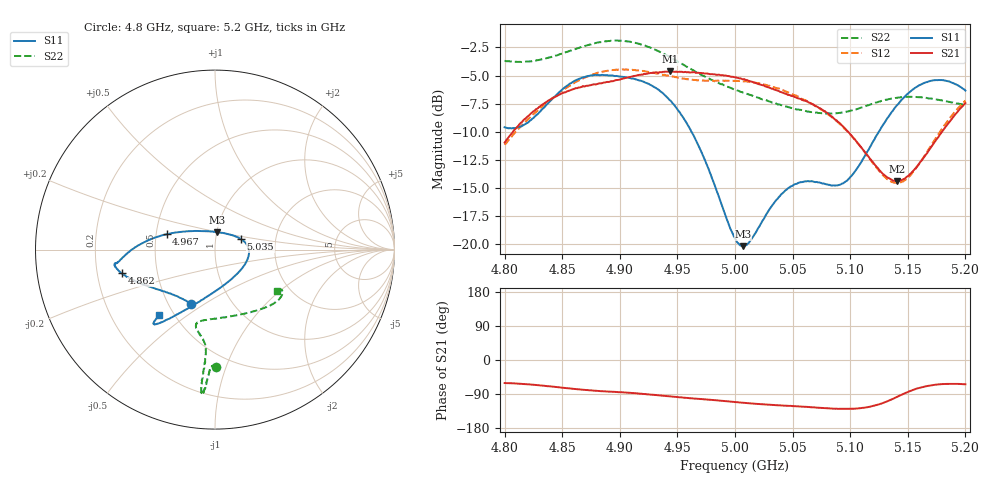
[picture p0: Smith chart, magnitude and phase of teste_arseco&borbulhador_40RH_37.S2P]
! Network Analyzer HP8722D
! Hewlett-Packard
! Data name: Linha & Wilkinson
! Saver's name: Rodrigo Anjos
! Comments: Teste da utilização de aquisição
! continua pelo VNA HP8722D
! Time and date: 15/4/2025 16:39
!  Frequency  S11  S21  S12  S22
# HZ  S  MA R 50
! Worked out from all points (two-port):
!   401 points, 4.8 GHz to 5.2 GHz, reference 50 ohm
!   highest |S21| = -4.64 dB at 4.944 GHz (marker M1); lowest = -14.4 dB at 5.141 GHz (marker M2)
!   |S21| within 3 dB of the highest: 4.832 GHz to 5.069 GHz (236.8 MHz wide, 4.78 % of centre); 5.198326 GHz to end of sweep
!   lowest |S11| = -20.2 dB at 5.007 GHz (marker M3), VSWR 1.22, Z = 50.2 + j9.87 ohm
!   |S11| at or under -10 dB: 4.962 GHz to 5.125 GHz (162.6 MHz wide, 3.22 % of centre)
!   |S22| runs from -8.4 to -1.9 dB; largest |S21 - S12| = 0.88
!   S11 on the Smith chart (normalised r, x): 4.8 GHz: 0.65, -0.44; 4.862 GHz: 0.31, -0.11; 4.967 GHz: 0.57, +0.11; 5.035 GHz: 1.32, +0.16; 5.2 GHz: 0.41, -0.40
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4.8e9  0.331 -113.9  0.283 -60.8  0.2768 -175.2  0.6538 -89.5
4.819e9  0.345 -133.6  0.3659 -63.7  0.3536 -173.5  0.6489 -91.2
4.862e9  0.5364 -165.7  0.4944 -76.7  0.5268 -176.6  0.7401 -93.7
4.867e9  0.5499 -167.8  0.5007 -78.3  0.543 -177.4  0.7555 -93.7
4.9e9  0.5567 -172.1  0.54 -84.9  0.5981 175.9  0.8027 -95.1
4.934e9  0.4847 -178.1  0.581 -93.3  0.5742 171.8  0.7198 -95.6
4.944e9  0.435 177.4  0.5863 -96.2  0.5573 172.0  0.6774 -95.5
4.967e9  0.2833 162.5  0.5786 -102.2  0.5355 174.0  0.5796 -94.9
5e9  0.1064 106.9  0.5519 -111.1  0.5331 176.4  0.4859 -99.3
5.007e9  0.09801 83.0  0.5407 -112.8  0.5295 176.3  0.4718 -101.1
5.014e9  0.1047 60.5  0.529 -114.6  0.5252 176.1  0.4601 -102.6
5.035e9  0.1551 22.5  0.4855 -119.0  0.4961 175.0  0.4239 -103.9
5.05e9  0.182 6.8  0.456 -121.7  0.4639 174.5  0.4022 -100.3
5.067e9  0.1905 -11.7  0.4195 -124.7  0.4209 173.9  0.3869 -91.9
5.086e9  0.1824 -42.1  0.362 -128.4  0.3608 173.6  0.3816 -77.5
5.097e9  0.1912 -65.1  0.3203 -129.1  0.3197 174.6  0.3885 -68.4
5.134e9  0.3737 -116.3  0.1958 -106.6  0.1919 -159.6  0.4421 -43.4
5.141e9  0.417 -120.1  0.1911 -96.8  0.1875 -148.5  0.4484 -40.3
5.153e9  0.4814 -125.1  0.2073 -80.7  0.2044 -129.8  0.4522 -35.9
5.17e9  0.5327 -128.7  0.2691 -66.8  0.274 -112.9  0.4447 -32.1
5.184e9  0.5316 -130.0  0.3391 -63.1  0.3502 -107.3  0.4317 -31.1
5.2e9  0.4822 -130.4  0.4242 -64.1  0.4352 -106.2  0.4156 -33.4
